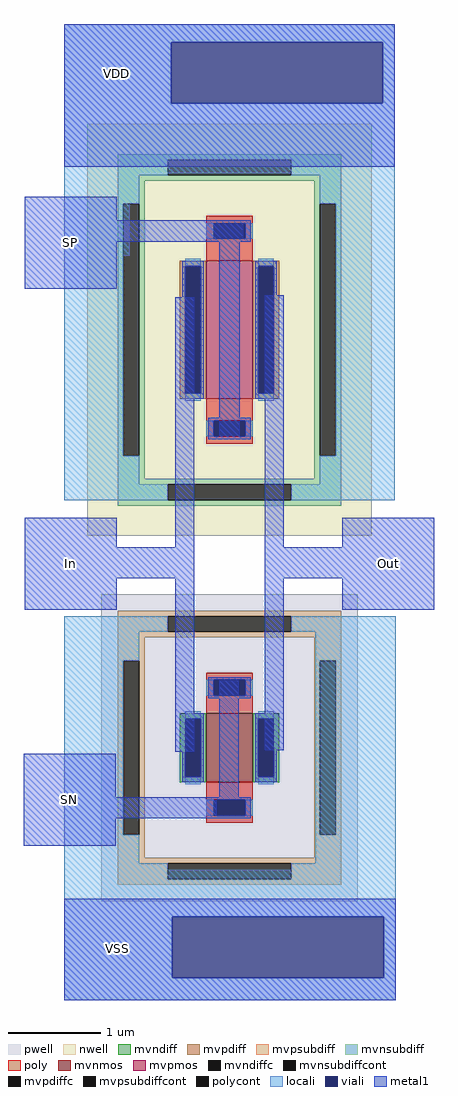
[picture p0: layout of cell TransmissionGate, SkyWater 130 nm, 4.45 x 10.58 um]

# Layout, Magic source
magic
tech sky130B
magscale 1 2
<< locali >>
rect 214 2496 930 2536
rect 214 2364 446 2496
rect 904 2364 930 2496
rect 214 2212 930 2364
rect 214 2156 342 2212
rect 214 2034 356 2156
rect 214 1504 342 2034
rect 802 1504 930 2212
rect 214 702 342 1252
rect 758 702 932 1252
rect 214 600 932 702
rect 214 468 448 600
rect 906 468 932 600
rect 214 420 932 468
<< viali >>
rect 446 2364 904 2496
rect 448 468 906 600
<< metal1 >>
rect 214 2496 930 2536
rect 214 2364 446 2496
rect 904 2364 930 2496
rect 214 2226 930 2364
rect 128 2110 328 2162
rect 128 2064 602 2110
rect 128 1962 328 2064
rect 128 1402 328 1466
rect 454 1402 496 1944
rect 550 1640 594 2064
rect 128 1334 496 1402
rect 128 1266 328 1334
rect 454 958 496 1334
rect 648 1402 690 1948
rect 816 1402 1016 1466
rect 648 1334 1016 1402
rect 126 860 326 954
rect 550 860 592 1112
rect 648 962 690 1334
rect 816 1266 1016 1334
rect 126 814 544 860
rect 126 754 326 814
rect 214 600 932 640
rect 214 468 448 600
rect 906 468 932 600
rect 214 420 932 468
use sky130_fd_pr__nfet_g5v0d10v5_6XHARQ  XM1
transform 1 0 572 0 1 967
box -278 -333 278 333
use sky130_fd_pr__pfet_g5v0d10v5_7EBZY6  XM2
transform 1 0 572 0 1 1873
box -308 -447 308 447
<< labels >>
flabel metal1 228 2328 428 2528 0 FreeSans 256 0 0 0 VDD
port 3 nsew
flabel metal1 230 432 430 632 0 FreeSans 256 0 0 0 VSS
port 4 nsew
flabel metal1 128 1266 328 1466 0 FreeSans 256 0 0 0 In
port 1 nsew
flabel metal1 816 1266 1016 1466 0 FreeSans 256 0 0 0 Out
port 0 nsew
flabel metal1 128 1962 328 2162 0 FreeSans 256 0 0 0 SP
port 2 nsew
flabel metal1 126 754 326 954 0 FreeSans 256 0 0 0 SN
port 5 nsew
<< end >>

# cell sky130_fd_pr__nfet_g5v0d10v5_6XHARQ: kit device sky130_fd_pr__nfet_g5v0d10v5, w 0.75 l 0.5 m 1 nf 1 diffcov 100 polycov 100 guard 1 glc 1 grc 1 gtc 1 gbc 1 tbcov 100 rlcov 100 topc 1 botc 1 poverlap 0 doverlap 1 lmin 0.50 wmin 0.42 compatible {sky130_fd_pr__nfet_01v8 sky130_fd_pr__nfet_01v8_lvt sky130_fd_bs_flash__special_sonosfet_star sky130_fd_pr__nfet_g5v0d10v5 sky130_fd_pr__nfet_05v0_nvt sky130_fd_pr__nfet_03v3_nvt} full_metal 1 viasrc 100 viadrn 100 viagate 100 viagb 0 viagr 0 viagl 0 viagt 0

# cell sky130_fd_pr__pfet_g5v0d10v5_7EBZY6: kit device sky130_fd_pr__pfet_g5v0d10v5, w 1.5 l 0.5 m 1 nf 1 diffcov 100 polycov 100 guard 1 glc 1 grc 1 gtc 1 gbc 1 tbcov 100 rlcov 100 topc 1 botc 1 poverlap 0 doverlap 1 lmin 0.50 wmin 0.42 compatible {sky130_fd_pr__pfet_01v8 sky130_fd_pr__pfet_01v8_lvt sky130_fd_pr__pfet_01v8_hvt sky130_fd_pr__pfet_g5v0d10v5} full_metal 1 viasrc 100 viadrn 100 viagate 100 viagb 0 viagr 0 viagl 0 viagt 0
